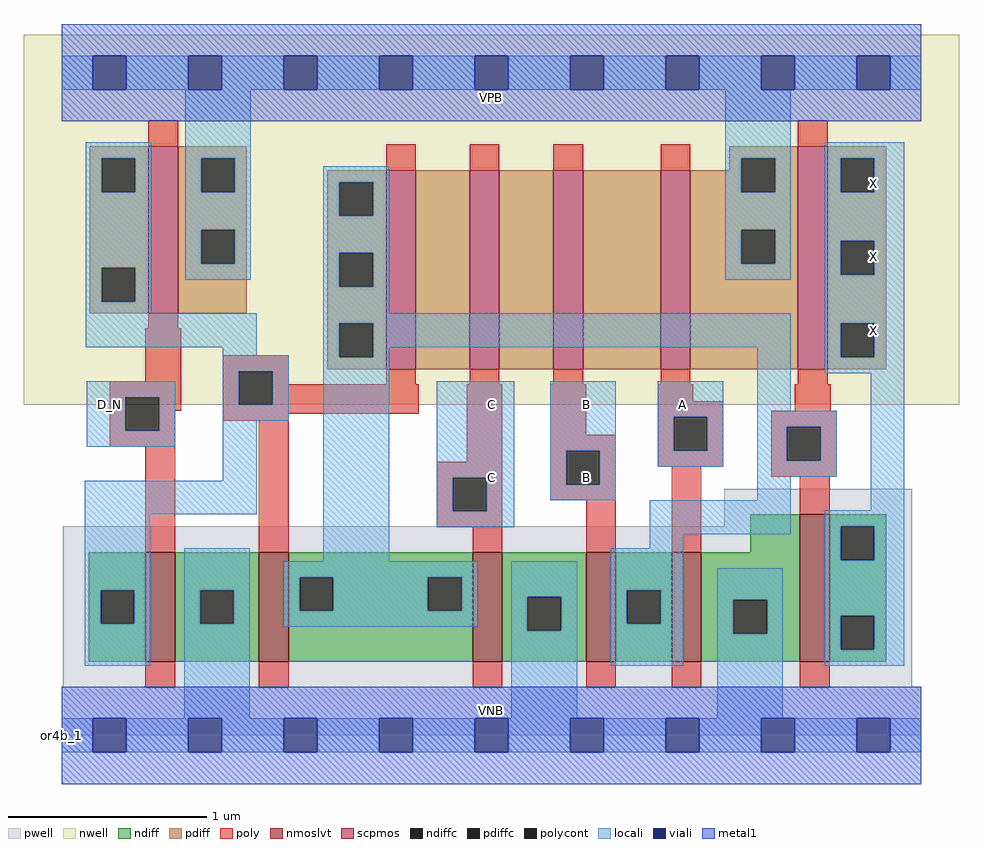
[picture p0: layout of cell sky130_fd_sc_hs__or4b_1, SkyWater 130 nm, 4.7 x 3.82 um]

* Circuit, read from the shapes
.subckt sky130_fd_sc_hs__or4b_1 A B C D_N VGND VNB VPB VPWR X
XM1 VGND D_N n1 VNB sky130_fd_pr__nfet_01v8_lvt w=0.55 l=0.15
XM2 n2 n1 VGND VNB sky130_fd_pr__nfet_01v8_lvt w=0.55 l=0.15
XM3 VGND C n2 VNB sky130_fd_pr__nfet_01v8_lvt w=0.55 l=0.15
XM4 n2 B VGND VNB sky130_fd_pr__nfet_01v8_lvt w=0.55 l=0.15
XM5 VGND A n2 VNB sky130_fd_pr__nfet_01v8_lvt w=0.55 l=0.15
XM6 X n2 VGND VNB sky130_fd_pr__nfet_01v8_lvt w=0.74 l=0.15
XM7 VPWR D_N n1 VPB sky130_fd_pr__pfet_01v8 w=0.84 l=0.15
XM8 n3 n1 n2 VPB sky130_fd_pr__pfet_01v8 w=1 l=0.15
XM9 n4 C n3 VPB sky130_fd_pr__pfet_01v8 w=1 l=0.15
XM10 n5 B n4 VPB sky130_fd_pr__pfet_01v8 w=1 l=0.15
XM11 VPWR A n5 VPB sky130_fd_pr__pfet_01v8 w=1 l=0.15
XM12 X n2 VPWR VPB sky130_fd_pr__pfet_01v8 w=1.12 l=0.15
.ends

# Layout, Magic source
magic
tech sky130A
magscale 1 2
<< nwell >>
rect -38 332 902 704
<< pwell >>
rect 666 210 855 248
rect 1 49 855 210
rect 0 0 864 49
<< scpmos >>
rect 87 424 117 592
rect 326 368 356 568
rect 410 368 440 568
rect 494 368 524 568
rect 602 368 632 568
rect 740 368 770 592
<< nmoslvt >>
rect 84 74 114 184
rect 198 74 228 184
rect 413 74 443 184
rect 527 74 557 184
rect 613 74 643 184
rect 742 74 772 222
<< ndiff >>
rect 692 184 742 222
rect 27 146 84 184
rect 27 112 39 146
rect 73 112 84 146
rect 27 74 84 112
rect 114 146 198 184
rect 114 112 139 146
rect 173 112 198 146
rect 114 74 198 112
rect 228 159 413 184
rect 228 125 239 159
rect 273 125 368 159
rect 402 125 413 159
rect 228 74 413 125
rect 443 139 527 184
rect 443 105 468 139
rect 502 105 527 139
rect 443 74 527 105
rect 557 146 613 184
rect 557 112 568 146
rect 602 112 613 146
rect 557 74 613 112
rect 643 136 742 184
rect 643 102 675 136
rect 709 102 742 136
rect 643 74 742 102
rect 772 210 829 222
rect 772 176 783 210
rect 817 176 829 210
rect 772 120 829 176
rect 772 86 783 120
rect 817 86 829 120
rect 772 74 829 86
<< pdiff >>
rect 28 580 87 592
rect 28 546 40 580
rect 74 546 87 580
rect 28 470 87 546
rect 28 436 40 470
rect 74 436 87 470
rect 28 424 87 436
rect 117 580 186 592
rect 117 546 140 580
rect 174 546 186 580
rect 671 580 740 592
rect 671 568 683 580
rect 117 508 186 546
rect 117 474 140 508
rect 174 474 186 508
rect 117 424 186 474
rect 267 556 326 568
rect 267 522 279 556
rect 313 522 326 556
rect 267 485 326 522
rect 267 451 279 485
rect 313 451 326 485
rect 267 414 326 451
rect 267 380 279 414
rect 313 380 326 414
rect 267 368 326 380
rect 356 368 410 568
rect 440 368 494 568
rect 524 368 602 568
rect 632 546 683 568
rect 717 546 740 580
rect 632 508 740 546
rect 632 474 683 508
rect 717 474 740 508
rect 632 368 740 474
rect 770 580 829 592
rect 770 546 783 580
rect 817 546 829 580
rect 770 497 829 546
rect 770 463 783 497
rect 817 463 829 497
rect 770 414 829 463
rect 770 380 783 414
rect 817 380 829 414
rect 770 368 829 380
<< ndiffc >>
rect 39 112 73 146
rect 139 112 173 146
rect 239 125 273 159
rect 368 125 402 159
rect 468 105 502 139
rect 568 112 602 146
rect 675 102 709 136
rect 783 176 817 210
rect 783 86 817 120
<< pdiffc >>
rect 40 546 74 580
rect 40 436 74 470
rect 140 546 174 580
rect 140 474 174 508
rect 279 522 313 556
rect 279 451 313 485
rect 279 380 313 414
rect 683 546 717 580
rect 683 474 717 508
rect 783 546 817 580
rect 783 463 817 497
rect 783 380 817 414
<< poly >>
rect 87 592 117 618
rect 326 568 356 594
rect 410 568 440 594
rect 494 568 524 594
rect 602 568 632 594
rect 740 592 770 618
rect 87 409 117 424
rect 84 356 120 409
rect 48 340 120 356
rect 48 306 64 340
rect 98 326 120 340
rect 162 366 228 382
rect 162 332 178 366
rect 212 353 228 366
rect 326 353 356 368
rect 410 353 440 368
rect 494 353 524 368
rect 602 353 632 368
rect 740 353 770 368
rect 212 332 359 353
rect 98 306 114 326
rect 162 323 359 332
rect 162 316 228 323
rect 48 290 114 306
rect 84 184 114 290
rect 198 184 228 316
rect 407 275 443 353
rect 377 259 443 275
rect 377 225 393 259
rect 427 225 443 259
rect 491 302 527 353
rect 599 336 635 353
rect 599 320 665 336
rect 737 326 773 353
rect 491 286 557 302
rect 491 252 507 286
rect 541 252 557 286
rect 599 286 615 320
rect 649 286 665 320
rect 599 270 665 286
rect 713 310 779 326
rect 713 276 729 310
rect 763 276 779 310
rect 491 236 557 252
rect 377 209 443 225
rect 413 184 443 209
rect 527 184 557 236
rect 613 184 643 270
rect 713 260 779 276
rect 742 222 772 260
rect 84 48 114 74
rect 198 48 228 74
rect 413 48 443 74
rect 527 48 557 74
rect 613 48 643 74
rect 742 48 772 74
<< polycont >>
rect 64 306 98 340
rect 178 332 212 366
rect 393 225 427 259
rect 507 252 541 286
rect 615 286 649 320
rect 729 276 763 310
<< locali >>
rect 0 649 31 683
rect 65 649 127 683
rect 161 649 223 683
rect 257 649 319 683
rect 353 649 415 683
rect 449 649 511 683
rect 545 649 607 683
rect 641 649 703 683
rect 737 649 799 683
rect 833 649 864 683
rect 24 580 90 596
rect 24 546 40 580
rect 74 546 90 580
rect 24 470 90 546
rect 24 436 40 470
rect 74 436 90 470
rect 124 580 190 649
rect 124 546 140 580
rect 174 546 190 580
rect 667 580 733 649
rect 124 508 190 546
rect 124 474 140 508
rect 174 474 190 508
rect 124 458 190 474
rect 263 556 329 572
rect 263 522 279 556
rect 313 522 329 556
rect 263 485 329 522
rect 24 424 90 436
rect 263 451 279 485
rect 313 451 329 485
rect 667 546 683 580
rect 717 546 733 580
rect 667 508 733 546
rect 667 474 683 508
rect 717 474 733 508
rect 667 458 733 474
rect 767 580 847 596
rect 767 546 783 580
rect 817 546 847 580
rect 767 497 847 546
rect 767 463 783 497
rect 817 463 847 497
rect 263 424 329 451
rect 24 390 196 424
rect 162 382 196 390
rect 263 414 733 424
rect 162 366 228 382
rect 25 340 114 356
rect 25 306 64 340
rect 98 306 114 340
rect 25 290 114 306
rect 162 332 178 366
rect 212 332 228 366
rect 162 316 228 332
rect 263 380 279 414
rect 313 390 733 414
rect 313 380 329 390
rect 162 256 196 316
rect 23 222 196 256
rect 23 146 89 222
rect 23 112 39 146
rect 73 112 89 146
rect 23 70 89 112
rect 123 146 189 188
rect 263 175 329 380
rect 377 259 455 356
rect 377 225 393 259
rect 427 225 455 259
rect 491 286 557 356
rect 491 252 507 286
rect 541 252 557 286
rect 599 320 665 356
rect 599 286 615 320
rect 649 286 665 320
rect 599 270 665 286
rect 699 326 733 390
rect 767 414 847 463
rect 767 380 783 414
rect 817 380 847 414
rect 767 364 847 380
rect 699 310 779 326
rect 699 276 729 310
rect 763 276 779 310
rect 491 236 557 252
rect 699 260 779 276
rect 699 236 733 260
rect 377 209 455 225
rect 591 202 733 236
rect 813 226 847 364
rect 767 210 847 226
rect 591 188 625 202
rect 123 112 139 146
rect 173 112 189 146
rect 123 17 189 112
rect 223 159 418 175
rect 223 125 239 159
rect 273 125 368 159
rect 402 125 418 159
rect 223 109 418 125
rect 452 139 518 175
rect 452 105 468 139
rect 502 105 518 139
rect 452 17 518 105
rect 552 146 625 188
rect 767 176 783 210
rect 817 176 847 210
rect 552 112 568 146
rect 602 112 625 146
rect 552 70 625 112
rect 659 136 725 168
rect 659 102 675 136
rect 709 102 725 136
rect 659 17 725 102
rect 767 120 847 176
rect 767 86 783 120
rect 817 86 847 120
rect 767 70 847 86
rect 0 -17 31 17
rect 65 -17 127 17
rect 161 -17 223 17
rect 257 -17 319 17
rect 353 -17 415 17
rect 449 -17 511 17
rect 545 -17 607 17
rect 641 -17 703 17
rect 737 -17 799 17
rect 833 -17 864 17
<< viali >>
rect 31 649 65 683
rect 127 649 161 683
rect 223 649 257 683
rect 319 649 353 683
rect 415 649 449 683
rect 511 649 545 683
rect 607 649 641 683
rect 703 649 737 683
rect 799 649 833 683
rect 31 -17 65 17
rect 127 -17 161 17
rect 223 -17 257 17
rect 319 -17 353 17
rect 415 -17 449 17
rect 511 -17 545 17
rect 607 -17 641 17
rect 703 -17 737 17
rect 799 -17 833 17
<< metal1 >>
rect 0 683 864 715
rect 0 649 31 683
rect 65 649 127 683
rect 161 649 223 683
rect 257 649 319 683
rect 353 649 415 683
rect 449 649 511 683
rect 545 649 607 683
rect 641 649 703 683
rect 737 649 799 683
rect 833 649 864 683
rect 0 617 864 649
rect 0 17 864 49
rect 0 -17 31 17
rect 65 -17 127 17
rect 161 -17 223 17
rect 257 -17 319 17
rect 353 -17 415 17
rect 449 -17 511 17
rect 545 -17 607 17
rect 641 -17 703 17
rect 737 -17 799 17
rect 833 -17 864 17
rect 0 -49 864 -17
<< labels >>
rlabel comment s 0 0 0 0 4 or4b_1
flabel pwell s 0 0 864 49 0 FreeSans 200 0 0 0 VNB
port 6 nsew ground bidirectional
flabel nwell s 0 617 864 666 0 FreeSans 200 0 0 0 VPB
port 7 nsew power bidirectional
flabel metal1 s 0 617 864 666 0 FreeSans 340 0 0 0 VPWR
port 8 nsew power bidirectional
flabel metal1 s 0 0 864 49 0 FreeSans 340 0 0 0 VGND
port 5 nsew ground bidirectional
flabel locali s 31 316 65 350 0 FreeSans 340 0 0 0 D_N
port 4 nsew signal input
flabel locali s 607 316 641 350 0 FreeSans 340 0 0 0 A
port 1 nsew signal input
flabel locali s 511 242 545 276 0 FreeSans 340 0 0 0 B
port 2 nsew signal input
flabel locali s 511 316 545 350 0 FreeSans 340 0 0 0 B
port 2 nsew signal input
flabel locali s 415 242 449 276 0 FreeSans 340 0 0 0 C
port 3 nsew signal input
flabel locali s 415 316 449 350 0 FreeSans 340 0 0 0 C
port 3 nsew signal input
flabel locali s 799 390 833 424 0 FreeSans 340 0 0 0 X
port 9 nsew signal output
flabel locali s 799 464 833 498 0 FreeSans 340 0 0 0 X
port 9 nsew signal output
flabel locali s 799 538 833 572 0 FreeSans 340 0 0 0 X
port 9 nsew signal output
<< properties >>
string LEFsite unit
string LEFclass CORE
string FIXED_BBOX 0 0 864 666
string GDS_FILE $PDKPATH/libs.ref/sky130_fd_sc_hs/gds/sky130_fd_sc_hs.gds
string LEFsymmetry X Y
string GDS_END 1840624
string GDS_START 1833140
<< end >>
